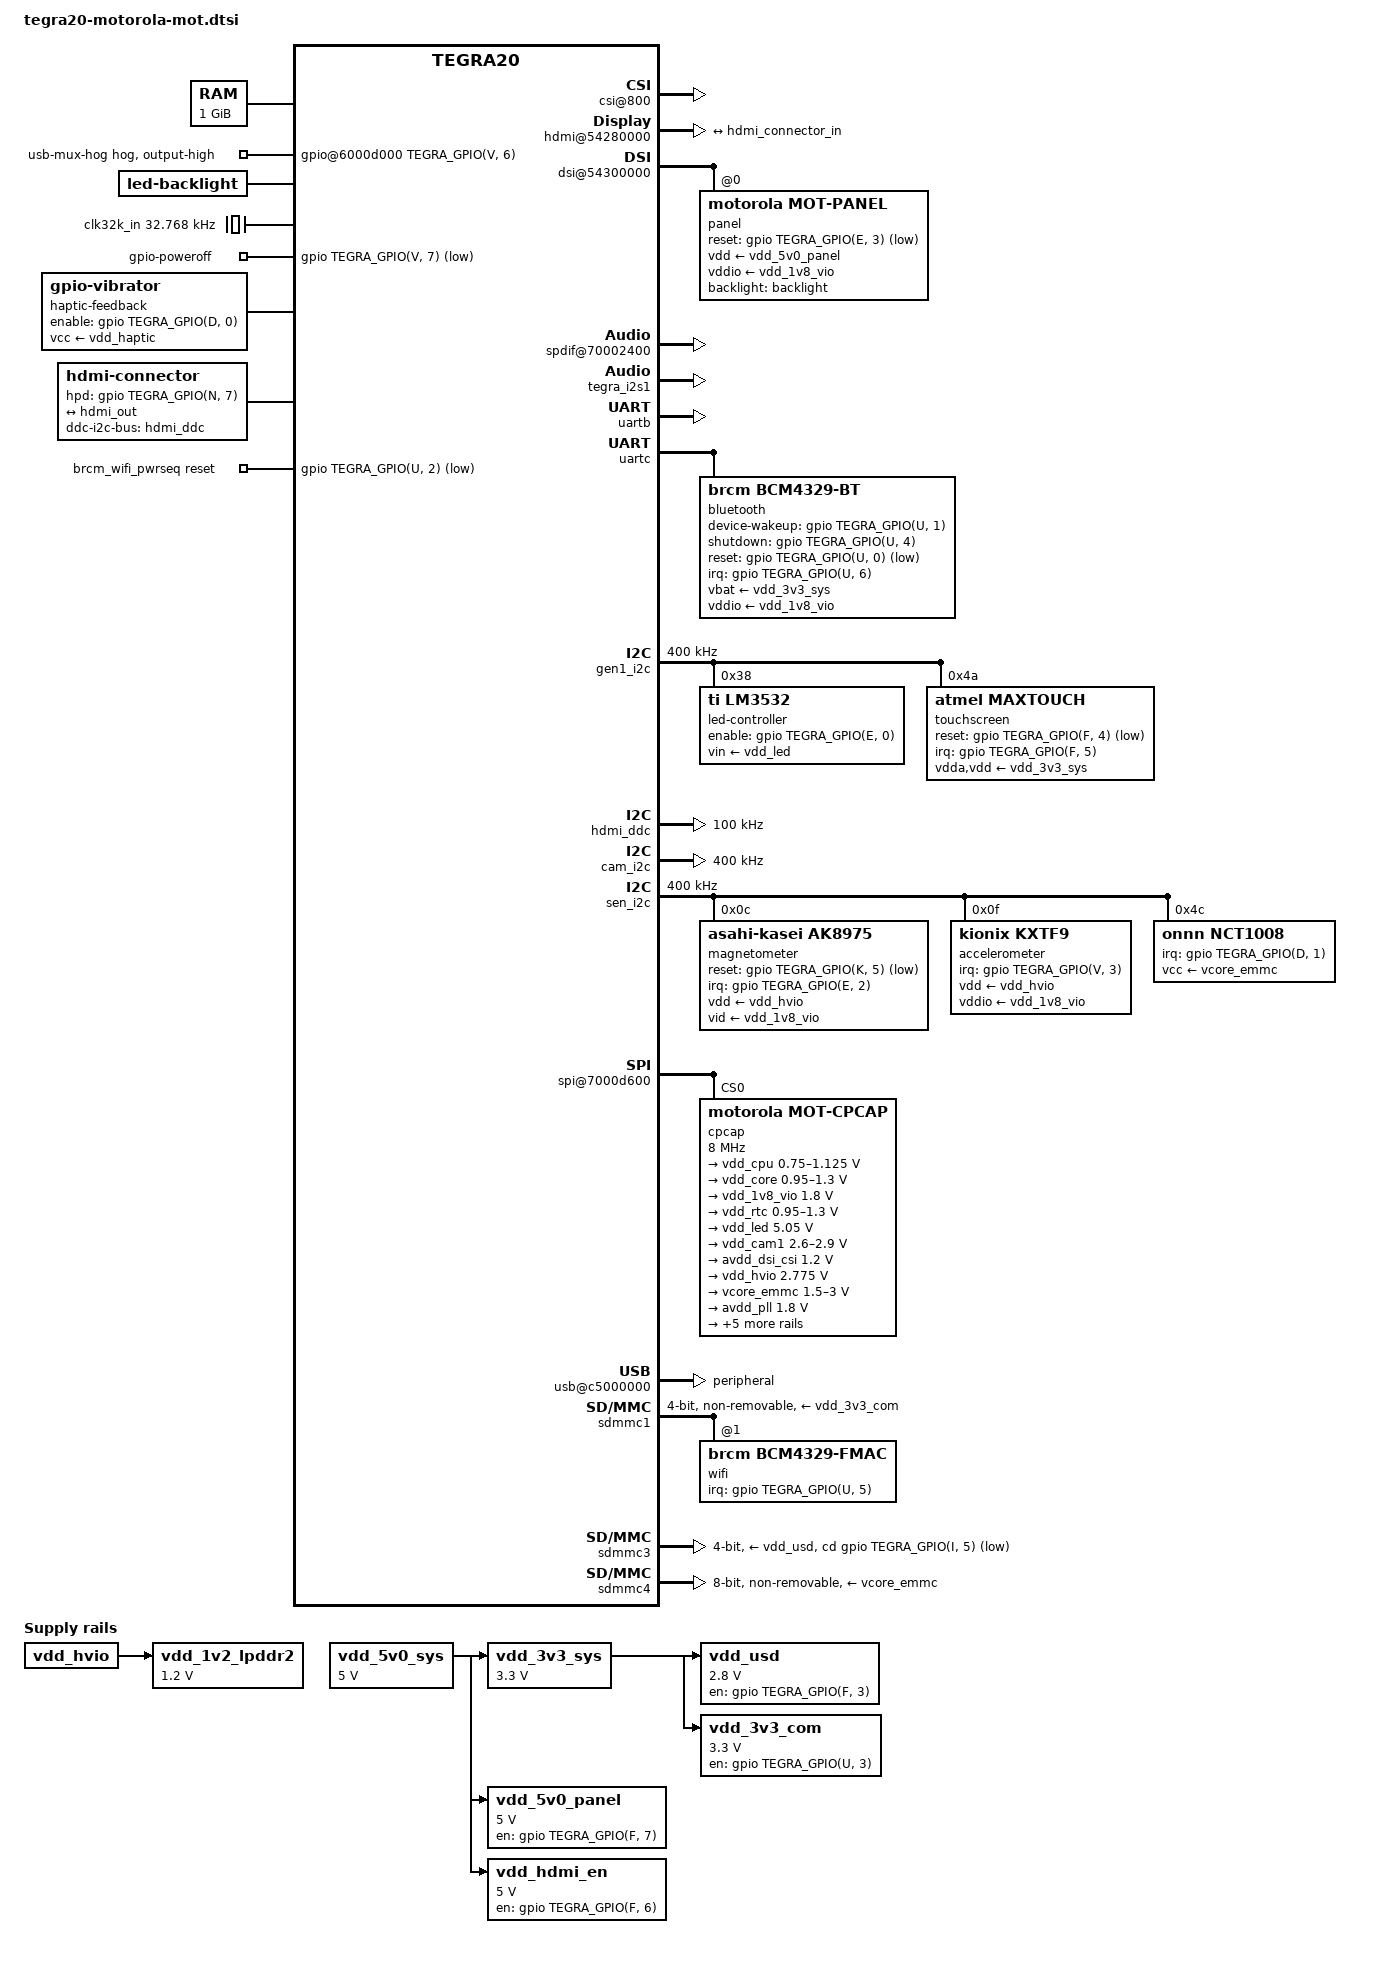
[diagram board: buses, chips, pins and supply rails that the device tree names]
// SPDX-License-Identifier: GPL-2.0

#include <dt-bindings/input/atmel-maxtouch.h>
#include <dt-bindings/input/gpio-keys.h>
#include <dt-bindings/input/input.h>
#include <dt-bindings/thermal/thermal.h>

#include "tegra20.dtsi"
#include "tegra20-cpu-opp.dtsi"
#include "tegra20-cpu-opp-microvolt.dtsi"

/ {
	chassis-type = "handset";

	aliases {
		mmc0 = &sdmmc4; /* eMMC */
		mmc1 = &sdmmc3; /* uSD slot */
		mmc2 = &sdmmc1; /* WiFi */

		rtc0 = &cpcap_rtc;
		rtc1 = "/rtc@7000e000";

		serial0 = &uartb; /* Console */
		serial1 = &uartc; /* Bluetooth */
	};

	/*
	 * The decompressor and also some bootloaders rely on a
	 * pre-existing /chosen node to be available to insert the
	 * command line and merge other ATAGS info.
	 */
	chosen { };

	memory@0 {
		reg = <0x00000000 0x40000000>;
	};

	reserved-memory {
		#address-cells = <1>;
		#size-cells = <1>;
		ranges;

		linux,cma@20000000 {
			compatible = "shared-dma-pool";
			alloc-ranges = <0x20000000 0x10000000>;
			size = <0x10000000>; /* 256MiB */
			linux,cma-default;
			reusable;
		};
	};

	host1x@50000000 {
		vi@54080000 {
			status = "okay";

			csi@800 {
				status = "okay";

				avdd-dsi-csi-supply = <&avdd_dsi_csi>;
			};

			ports {
				#address-cells = <1>;
				#size-cells = <0>;

				port@0 {
					reg = <0>;

					vi_ppa_input: endpoint {
						/* Link to the rear camera */
					};
				};

				port@1 {
					reg = <1>;

					vi_ppb_input: endpoint {
						/* Link to the front camera */
					};
				};
			};
		};

		hdmi@54280000 {
			status = "okay";

			/*
			 * Mot uses PLLD for both HDMI and DSI. HDMI does
			 * not support opps for frequencies used by DSI.
			 * Consequently, DSI works, but it causes HDMI to
			 * fail. Remove operating-points-v2 from HDMI.
			 */
			/delete-property/ operating-points-v2;

			vdd-supply = <&avdd_3v3_periph>;
			pll-supply = <&vdd_hvio>;
			hdmi-supply = <&vdd_hdmi_en>;

			port {
				hdmi_out: endpoint {
					remote-endpoint = <&hdmi_connector_in>;
				};
			};
		};

		dsi@54300000 {
			status = "okay";

			avdd-dsi-csi-supply = <&avdd_dsi_csi>;

			panel@0 {
				compatible = "motorola,mot-panel";
				reg = <0>;

				reset-gpios = <&gpio TEGRA_GPIO(E, 3) GPIO_ACTIVE_LOW>;

				vdd-supply = <&vdd_5v0_panel>;
				vddio-supply = <&vdd_1v8_vio>;

				backlight = <&backlight>;
			};
		};
	};

	gpio@6000d000 {
		usb-mux-hog {
			gpio-hog;
			gpios = <TEGRA_GPIO(V, 6) GPIO_ACTIVE_HIGH>;
			output-high;
		};
	};

	pinmux@70000014 {
		pinctrl-names = "default";
		pinctrl-0 = <&state_default>;

		state_default: pinmux {
			crt {
				nvidia,pins = "crtp";
				nvidia,function = "crt";
			};

			dap1 {
				nvidia,pins = "dap1";
				nvidia,function = "dap1";
			};

			dap2 {
				nvidia,pins = "dap2";
				nvidia,function = "dap2";
			};

			dap3 {
				nvidia,pins = "dap3";
				nvidia,function = "dap3";
			};

			dap4 {
				nvidia,pins = "dap4";
				nvidia,function = "dap4";
			};

			displaya {
				nvidia,pins = "lcsn", "ld0", "ld1", "ld3",
					      "ld5", "ld6", "ld7", "ld8",
					      "ld9", "ld12", "ld13", "ld14",
					      "ld15", "ld16", "ld17", "ldi",
					      "lhp0", "lhp1", "lhp2", "lhs",
					      "lpp", "lsc0", "lpw1", "lsda",
					      "lspi";
				nvidia,function = "displaya";
			};

			gmi {
				nvidia,pins = "ata", "atc", "atd", "ate",
					      "gmb", "gmd", "gpu";
				nvidia,function = "gmi";
			};

			hdmi {
				nvidia,pins = "hdint";
				nvidia,function = "hdmi";
			};

			i2c1 {
				nvidia,pins = "rm";
				nvidia,function = "i2c1";
			};

			i2c2 {
				nvidia,pins = "ddc";
				nvidia,function = "i2c2";
			};

			i2c3 {
				nvidia,pins = "dtf";
				nvidia,function = "i2c3";
			};

			i2cp {
				nvidia,pins = "i2cp";
				nvidia,function = "i2cp";
			};

			kbc {
				nvidia,pins = "kbca", "kbcb", "kbcc", "kbcd",
					      "kbce", "kbcf";
				nvidia,function = "kbc";
			};

			osc {
				nvidia,pins = "cdev1", "cdev2";
				nvidia,function = "osc";
			};

			owr {
				nvidia,pins = "owc", "uac";
				nvidia,function = "owr";
			};

			pcie {
				nvidia,pins = "gpv";
				nvidia,function = "pcie";
			};

			pwr-on {
				nvidia,pins = "pmc";
				nvidia,function = "pwr_on";
			};

			rsvd3 {
				nvidia,pins = "lm1";
				nvidia,function = "rsvd3";
			};

			rsvd4 {
				nvidia,pins = "lvp0", "lvp1", "lvs", "ld10",
					      "ld11", "ld2", "ld4", "ldc";
				nvidia,function = "rsvd4";
			};

			rtck {
				nvidia,pins = "gpu7";
				nvidia,function = "rtck";
			};

			sdio1 {
				nvidia,pins = "sdio1";
				nvidia,function = "sdio1";
			};

			sdio3 {
				nvidia,pins = "sdb", "sdc", "sdd";
				nvidia,function = "sdio3";
			};

			sdio4 {
				nvidia,pins = "atb", "gma", "gme";
				nvidia,function = "sdio4";
			};

			spdif {
				nvidia,pins = "slxc", "slxd";
				nvidia,function = "spdif";
			};

			spi1 {
				nvidia,pins = "spid", "spie", "spif";
				nvidia,function = "spi1";
			};

			spi2 {
				nvidia,pins = "spia", "spib", "spic", "spig",
					      "spih";
				nvidia,function = "spi2";
			};

			spi3 {
				nvidia,pins = "lm0", "lpw0", "lpw2", "lsc1";
				nvidia,function = "spi3";
			};

			uarta {
				nvidia,pins = "irrx", "irtx";
				nvidia,function = "uarta";
			};

			uartc {
				nvidia,pins = "uca", "ucb";
				nvidia,function = "uartc";
			};

			uartd {
				nvidia,pins = "gmc";
				nvidia,function = "uartd";
			};

			ulpi {
				nvidia,pins = "uab";
				nvidia,function = "ulpi";
			};

			vi {
				nvidia,pins = "dta", "dtb", "dtc", "dtd",
					      "dte";
				nvidia,function = "vi";
			};

			vi-sensor-clk {
				nvidia,pins = "csus";
				nvidia,function = "vi_sensor_clk";
			};

			conf-lcsn {
				nvidia,pins = "lcsn", "lpw1", "lsck", "lsda",
					      "lsdi", "ldc", "hdint";
				nvidia,tristate = <TEGRA_PIN_ENABLE>;
			};

			conf-ata {
				nvidia,pins = "ata", "atc", "ddc", "gmc",
					      "gpu", "kbca", "kbcb", "kbcc",
					      "kbcd", "kbce", "kbcf", "owc",
					      "sdc", "sdd", "sdio1", "uaa",
					      "uad", "uca", "ucb", "pmce";
				nvidia,pull = <TEGRA_PIN_PULL_UP>;
				nvidia,tristate = <TEGRA_PIN_DISABLE>;
			};

			conf-crtp {
				nvidia,pins = "crtp", "csus", "pta";
				nvidia,pull = <TEGRA_PIN_PULL_NONE>;
			};

			conf-atd {
				nvidia,pins = "atb", "atd", "ate", "cdev2",
					      "cdev1", "dte", "gma", "gmb",
					      "gmd", "gme", "gpu7", "gpv",
					      "i2cp", "irrx", "irtx", "rm",
					      "slxa", "slxc", "slxd", "slxk",
					      "spdi", "spdo", "spid", "spie",
					      "spif", "uda", "ck32", "ddrc",
					      "pmca", "pmcb", "pmcc", "pmcd",
					      "xm2c", "xm2d";
				nvidia,pull = <TEGRA_PIN_PULL_NONE>;
				nvidia,tristate = <TEGRA_PIN_DISABLE>;
			};

			conf-ld0 {
				nvidia,pins = "ld0", "ld1", "ld2", "ld3",
					      "ld4", "ld5", "ld6", "ld7",
					      "ld8", "ld9", "ld10", "ld11",
					      "ld12", "ld13", "ld14", "ld15",
					      "ld16", "ld17", "ldi", "lhp0",
					      "lhp1", "lhp2", "lhs", "lm0",
					      "lpp", "lpw0", "lpw2", "lsc0",
					      "lsc1", "lspi", "lvp1", "lm1",
					      "lvp0", "lvs", "pmc", "sdb";
				nvidia,tristate = <TEGRA_PIN_DISABLE>;
			};

			conf-dta {
				nvidia,pins = "dap1", "dap2", "dap3", "dap4",
					      "dta", "dtb", "dtc", "dtd", "dtf";
				nvidia,pull = <TEGRA_PIN_PULL_DOWN>;
				nvidia,tristate = <TEGRA_PIN_DISABLE>;
			};

			conf-spi2 {
				nvidia,pins = "spia", "spib", "spic", "spig",
					      "spih";
				nvidia,pull = <TEGRA_PIN_PULL_NONE>;
				nvidia,tristate = <TEGRA_PIN_DISABLE>;
			};

			drive-sdio1 {
				nvidia,pins = "drive_sdio1", "drive_ddc", "drive_vi1",
					      "drive_vi2", "drive_dbg";
				nvidia,high-speed-mode = <TEGRA_PIN_DISABLE>;
				nvidia,schmitt = <TEGRA_PIN_ENABLE>;
				nvidia,low-power-mode = <TEGRA_PIN_LP_DRIVE_DIV_1>;
				nvidia,pull-down-strength = <31>;
				nvidia,pull-up-strength = <31>;
				nvidia,slew-rate-rising = <TEGRA_PIN_SLEW_RATE_SLOWEST>;
				nvidia,slew-rate-falling = <TEGRA_PIN_SLEW_RATE_SLOWEST>;
			};
		};
	};

	spdif@70002400 {
		status = "okay";

		nvidia,fixed-parent-rate;
	};

	tegra_i2s1: i2s@70002800 {
		status = "okay";

		nvidia,fixed-parent-rate;
	};

	uartb: serial@70006040 {
		/delete-property/ dmas;
		/delete-property/ dma-names;
		status = "okay";

		/* Console */
	};

	uartc: serial@70006200 {
		compatible = "nvidia,tegra20-hsuart";
		reset-names = "serial";
		/delete-property/ reg-shift;
		status = "okay";

		nvidia,adjust-baud-rates = <0 9600 100>,
					   <9600 115200 200>,
					   <1000000 4000000 136>;

		/* Broadcom BCM4329HKUBG */
		bluetooth {
			compatible = "brcm,bcm4329-bt";

			interrupt-parent = <&gpio>;
			interrupts = <TEGRA_GPIO(U, 6) IRQ_TYPE_EDGE_RISING>;
			interrupt-names = "host-wakeup";

			/* PLLP 216MHz / 16 / 4 */
			max-speed = <3375000>;

			clocks = <&tegra_pmc TEGRA_PMC_CLK_BLINK>;
			clock-names = "txco";

			vbat-supply  = <&vdd_3v3_sys>;
			vddio-supply = <&vdd_1v8_vio>;

			device-wakeup-gpios = <&gpio TEGRA_GPIO(U, 1) GPIO_ACTIVE_HIGH>;
			shutdown-gpios = <&gpio TEGRA_GPIO(U, 4) GPIO_ACTIVE_HIGH>;
			reset-gpios = <&gpio TEGRA_GPIO(U, 0) GPIO_ACTIVE_LOW>;
		};
	};

	gen1_i2c: i2c@7000c000 {
		status = "okay";
		clock-frequency = <400000>;

		led-controller@38 {
			compatible = "ti,lm3532";
			reg = <0x38>;

			enable-gpios = <&gpio TEGRA_GPIO(E, 0) GPIO_ACTIVE_HIGH>;

			vin-supply = <&vdd_led>;

			ramp-up-us = <0>;
			ramp-down-us = <0>;

			#address-cells = <1>;
			#size-cells = <0>;

			backlight_led: led@0 {
				reg = <0>;

				led-sources = <0>;
				led-max-microamp = <26600>;

				ti,led-mode = <0>;
				ti,linear-mapping-mode;

				label = ":backlight";
			};
		};

		touchscreen@4a {
			compatible = "atmel,maxtouch";
			reg = <0x4a>;

			interrupt-parent = <&gpio>;
			interrupts = <TEGRA_GPIO(F, 5) IRQ_TYPE_LEVEL_LOW>;

			touchscreen-min-y = <10>;
			touchscreen-swapped-x-y;

			reset-gpios = <&gpio TEGRA_GPIO(F, 4) GPIO_ACTIVE_LOW>;

			vdda-supply = <&vdd_3v3_sys>;
			vdd-supply  = <&vdd_3v3_sys>;
		};
	};

	hdmi_ddc: i2c@7000c400 {
		status = "okay";
		clock-frequency = <100000>;
	};

	cam_i2c: i2c@7000c500 {
		status = "okay";
		clock-frequency = <400000>;
	};

	sen_i2c: i2c@7000d000 {
		status = "okay";
		clock-frequency = <400000>;

		magnetometer@c {
			compatible = "asahi-kasei,ak8975";
			reg = <0xc>;

			interrupt-parent = <&gpio>;
			interrupts = <TEGRA_GPIO(E, 2) IRQ_TYPE_EDGE_RISING>;

			reset-gpios = <&gpio TEGRA_GPIO(K, 5) GPIO_ACTIVE_LOW>;

			vdd-supply = <&vdd_hvio>;
			vid-supply = <&vdd_1v8_vio>;
		};

		accelerometer@f {
			compatible = "kionix,kxtf9";
			reg = <0xf>;

			interrupt-parent = <&gpio>;
			interrupts = <TEGRA_GPIO(V, 3) IRQ_TYPE_EDGE_RISING>;

			vdd-supply = <&vdd_hvio>;
			vddio-supply = <&vdd_1v8_vio>;
		};

		nct1008: temperature-sensor@4c {
			compatible = "onnn,nct1008";
			reg = <0x4c>;

			interrupt-parent = <&gpio>;
			interrupts = <TEGRA_GPIO(D, 1) IRQ_TYPE_EDGE_FALLING>;

			vcc-supply = <&vcore_emmc>;
			#thermal-sensor-cells = <1>;
		};
	};

	spi@7000d600 {
		status = "okay";
		spi-max-frequency = <25000000>;

		cpcap: pmic@0 {
			compatible = "motorola,mot-cpcap";
			reg = <0>;

			spi-cs-high;
			spi-max-frequency = <8000000>;

			interrupts = <GIC_SPI 86 IRQ_TYPE_LEVEL_HIGH>;

			interrupt-controller;
			#interrupt-cells = <2>;

			cpcap_adc: adc {
				compatible = "motorola,mot-cpcap-adc";

				interrupts-extended = <&cpcap 8 IRQ_TYPE_NONE>;
				interrupt-names = "adcdone";

				#io-channel-cells = <1>;
			};

			cpcap_audio: audio-codec {
				interrupts-extended = <&cpcap 9 IRQ_TYPE_NONE>,
						      <&cpcap 10 IRQ_TYPE_NONE>;
				interrupt-names = "hs", "mb2";

				VAUDIO-supply = <&vdd_audio>;

				#sound-dai-cells = <1>;
			};

			/* CHARGE_NOW has to be dumped and preloaded on each reboot */
			battery {
				compatible = "motorola,cpcap-battery";

				interrupts-extended =
					<&cpcap 6 IRQ_TYPE_NONE>,  <&cpcap 5 IRQ_TYPE_NONE>,
					<&cpcap 3 IRQ_TYPE_NONE>,  <&cpcap 20 IRQ_TYPE_NONE>,
					<&cpcap 54 IRQ_TYPE_NONE>, <&cpcap 57 IRQ_TYPE_NONE>;
				interrupt-names =
					"eol", "lowbph", "lowbpl",
					"chrgcurr1", "battdetb", "cccal";

				io-channels = <&cpcap_adc 0>, <&cpcap_adc 1>,
					      <&cpcap_adc 5>, <&cpcap_adc 6>;
				io-channel-names = "battdetb", "battp",
						   "chg_isense", "batti";

				monitored-battery = <&battery>;
			};

			key-power {
				compatible = "motorola,cpcap-pwrbutton";

				interrupt-parent = <&cpcap>;
				interrupts = <23 IRQ_TYPE_NONE>;
			};

			led-red {
				compatible = "motorola,cpcap-led-red";
				vdd-supply = <&vdd_led>;
				label = "status-led::red";
			};

			led-green {
				compatible = "motorola,cpcap-led-green";
				vdd-supply = <&vdd_led>;
				label = "status-led::green";
			};

			led-blue {
				compatible = "motorola,cpcap-led-blue";
				vdd-supply = <&vdd_led>;
				label = "status-led::blue";
			};

			led-adl {
				compatible = "motorola,cpcap-led-adl";
				vdd-supply = <&vdd_led>;
				label = "cpcap::keypad";
			};

			regulator {
				compatible = "motorola,mot-cpcap-regulator";

				regulators {
					vdd_cpu: SW1 {
						regulator-name = "vdd_cpu";
						regulator-min-microvolt = <750000>;
						regulator-max-microvolt = <1125000>;
						regulator-coupled-with = <&vdd_core &vdd_rtc>;
						regulator-coupled-max-spread = <550000 550000>;
						regulator-enable-ramp-delay = <1500>;
						regulator-always-on;
						regulator-boot-on;

						nvidia,tegra-cpu-regulator;
					};

					vdd_core: SW2 {
						regulator-name = "vdd_core";
						regulator-min-microvolt = <950000>;
						regulator-max-microvolt = <1300000>;
						regulator-coupled-with = <&vdd_rtc &vdd_cpu>;
						regulator-coupled-max-spread = <170000 550000>;
						regulator-enable-ramp-delay = <1500>;
						regulator-always-on;
						regulator-boot-on;

						nvidia,tegra-core-regulator;
					};

					vdd_1v8_vio: SW3 {
						regulator-name = "vdd_1v8_vio";
						regulator-min-microvolt = <1800000>;
						regulator-max-microvolt = <1800000>;
						regulator-enable-ramp-delay = <0>;
						regulator-always-on;
						regulator-boot-on;
					};

					vdd_rtc: SW4 {
						regulator-name = "vdd_aon";
						regulator-min-microvolt = <950000>;
						regulator-max-microvolt = <1300000>;
						regulator-coupled-with = <&vdd_core &vdd_cpu>;
						regulator-coupled-max-spread = <170000 550000>;
						regulator-enable-ramp-delay = <1500>;
						regulator-always-on;
						regulator-boot-on;

						nvidia,tegra-rtc-regulator;
					};

					vdd_led: SW5 {
						regulator-name = "vdd_led";
						regulator-min-microvolt = <5050000>;
						regulator-max-microvolt = <5050000>;
						regulator-enable-ramp-delay = <1500>;
						regulator-boot-on;
					};

					VCAM {
						regulator-name = "vdd_cam1";
						regulator-min-microvolt = <2600000>;
						regulator-max-microvolt = <2900000>;
						regulator-enable-ramp-delay = <1000>;
					};

					avdd_dsi_csi: VCSI {
						regulator-name = "avdd_dsi_csi";
						regulator-min-microvolt = <1200000>;
						regulator-max-microvolt = <1200000>;
						regulator-enable-ramp-delay = <1000>;
						regulator-boot-on;
					};

					vdd_hvio: VHVIO {
						regulator-name = "vdd_hvio";
						regulator-min-microvolt = <2775000>;
						regulator-max-microvolt = <2775000>;
						regulator-enable-ramp-delay = <1000>;
						regulator-always-on;
						regulator-boot-on;
					};

					vcore_emmc: VSDIO {
						regulator-name = "vcore_emmc";
						regulator-min-microvolt = <1500000>;
						regulator-max-microvolt = <3000000>;
						regulator-enable-ramp-delay = <1000>;
						regulator-always-on;
						regulator-boot-on;
					};

					VPLL {
						regulator-name = "avdd_pll";
						regulator-min-microvolt = <1800000>;
						regulator-max-microvolt = <1800000>;
						regulator-enable-ramp-delay = <1000>;
						regulator-always-on;
						regulator-boot-on;
					};

					avdd_3v3_periph: VWLAN2 {
						regulator-name = "avdd_3v3_periph";
						regulator-min-microvolt = <2775000>;
						regulator-max-microvolt = <3300000>;
						regulator-enable-ramp-delay = <1000>;
						regulator-boot-on;
					};

					vddio_usd: VSIMCARD {
						regulator-name = "vddio_usd";
						regulator-min-microvolt = <1800000>;
						regulator-max-microvolt = <2900000>;
						regulator-enable-ramp-delay = <1000>;
						regulator-boot-on;
					};

					vdd_haptic: VVIB {
						regulator-name = "vdd_haptic";
						regulator-min-microvolt = <1300000>;
						regulator-max-microvolt = <3000000>;
						regulator-enable-ramp-delay = <1000>;
					};

					vdd_usb_det: VUSB {
						regulator-name = "vdd_usb_det";
						regulator-min-microvolt = <3300000>;
						regulator-max-microvolt = <3300000>;
						regulator-enable-ramp-delay = <1000>;
						regulator-always-on;
						regulator-boot-on;
					};

					vdd_audio: VAUDIO {
						regulator-name = "vdd_audio";
						regulator-min-microvolt = <2775000>;
						regulator-max-microvolt = <2775000>;
						regulator-enable-ramp-delay = <1000>;
						regulator-allowed-modes = <0x00>, <0x40>;
						regulator-initial-mode = <0x00>; /* NORMAL */
					};
				};
			};

			cpcap_rtc: rtc {
				compatible = "motorola,cpcap-rtc";

				interrupt-parent = <&cpcap>;
				interrupts = <39 IRQ_TYPE_NONE>, <26 IRQ_TYPE_NONE>;
			};
		};
	};

	pmc@7000e400 {
		nvidia,suspend-mode = <1>;
		nvidia,cpu-pwr-good-time = <800>;
		nvidia,cpu-pwr-off-time = <600>;
		nvidia,core-pwr-good-time = <1842 1842>;
		nvidia,core-pwr-off-time = <31>;
		nvidia,core-power-req-active-high;
		nvidia,sys-clock-req-active-high;
		core-supply = <&vdd_core>;
	};

	memory-controller@7000f400 {
		nvidia,use-ram-code;

		emc-tables@0 {
			reg = <0>;

			#address-cells = <1>;
			#size-cells = <0>;

			/* Elpida 1G 50nm */
			lpddr2 {
				compatible = "elpida,B8132B2PB-6D-F", "jedec,lpddr2-s4";
				revision-id = <0 0>;
				density = <2048>;
				io-width = <16>;
			};

			emc-table@25000 {
				reg = <25000>;
				compatible = "nvidia,tegra20-emc-table";
				clock-frequency = <25000>;
				nvidia,emc-registers = < 0x00000002 0x00000006
					0x00000003 0x00000003 0x00000006 0x00000004
					0x00000002 0x00000009 0x00000003 0x00000003
					0x00000002 0x00000002 0x00000002 0x00000004
					0x00000003 0x00000008 0x0000000b 0x0000004d
					0x00000000 0x00000003 0x00000003 0x00000003
					0x00000008 0x00000001 0x0000000a 0x00000004
					0x00000003 0x00000008 0x00000004 0x00000006
					0x00000002 0x00000068 0x00000000 0x00000003
					0x00000000 0x00000000 0x00000282 0xa06804ae
					0x00004810 0x00000000 0x00000000 0x00000003
					0x00000000 0x00000000 0x00000000 0x00000000 >;
			};

			emc-table@50000 {
				reg = <50000>;
				compatible = "nvidia,tegra20-emc-table";
				clock-frequency = <50000>;
				nvidia,emc-registers = < 0x00000003 0x00000007
					0x00000003 0x00000003 0x00000006 0x00000004
					0x00000002 0x00000009 0x00000003 0x00000003
					0x00000002 0x00000002 0x00000002 0x00000005
					0x00000003 0x00000008 0x0000000b 0x0000009f
					0x00000000 0x00000003 0x00000003 0x00000003
					0x00000008 0x00000001 0x0000000a 0x00000007
					0x00000003 0x00000008 0x00000004 0x00000006
					0x00000002 0x000000d0 0x00000000 0x00000000
					0x00000000 0x00000000 0x00000282 0xa06804ae
					0x00004810 0x00000000 0x00000000 0x00000005
					0x00000000 0x00000000 0x00000000 0x00000000 >;
			};

			emc-table@75000 {
				reg = <75000>;
				compatible = "nvidia,tegra20-emc-table";
				clock-frequency = <75000>;
				nvidia,emc-registers = < 0x00000005 0x0000000a
					0x00000004 0x00000003 0x00000006 0x00000004
					0x00000002 0x00000009 0x00000003 0x00000003
					0x00000002 0x00000002 0x00000002 0x00000005
					0x00000003 0x00000008 0x0000000b 0x000000ff
					0x00000000 0x00000003 0x00000003 0x00000003
					0x00000008 0x00000001 0x0000000a 0x0000000b
					0x00000003 0x00000008 0x00000004 0x00000006
					0x00000002 0x00000138 0x00000000 0x00000000
					0x00000000 0x00000000 0x00000282 0xa06804ae
					0x00004810 0x00000000 0x00000000 0x00000007
					0x00000000 0x00000000 0x00000000 0x00000000 >;
			};

			emc-table@150000 {
				reg = <150000>;
				compatible = "nvidia,tegra20-emc-table";
				clock-frequency = <150000>;
				nvidia,emc-registers = < 0x00000009 0x00000014
					0x00000007 0x00000004 0x00000006 0x00000004
					0x00000002 0x00000009 0x00000003 0x00000003
					0x00000002 0x00000002 0x00000002 0x00000005
					0x00000003 0x00000008 0x0000000b 0x0000021f
					0x00000000 0x00000003 0x00000003 0x00000004
					0x00000008 0x00000001 0x0000000a 0x00000015
					0x00000003 0x00000008 0x00000004 0x00000006
					0x00000002 0x00000270 0x00000000 0x00000001
					0x00000000 0x00000000 0x00000282 0xa04c04ae
					0x007fc010 0x00000000 0x00000000 0x0000000e
					0x00000000 0x00000000 0x00000000 0x00000000 >;
			};

			emc-table@300000 {
				reg = <300000>;
				compatible = "nvidia,tegra20-emc-table";
				clock-frequency = <300000>;
				nvidia,emc-registers = < 0x00000012 0x00000027
					0x0000000d 0x00000007 0x00000007 0x00000005
					0x00000003 0x00000009 0x00000006 0x00000006
					0x00000003 0x00000003 0x00000002 0x00000006
					0x00000003 0x00000009 0x0000000c 0x0000045f
					0x00000000 0x00000004 0x00000004 0x00000007
					0x00000008 0x00000001 0x0000000e 0x0000002a
					0x00000003 0x0000000f 0x00000008 0x00000005
					0x00000002 0x000004e0 0x00000005 0x00000002
					0x00000000 0x00000000 0x00000282 0xf04c040b
					0x007fe010 0x00000000 0x00000000 0x0000001b
					0x00000000 0x00000000 0x00000000 0x00000000 >;
			};
		};
	};

	usb@c5000000 {
		compatible = "nvidia,tegra20-udc";
		status = "okay";
		dr_mode = "peripheral";
	};

	usb-phy@c5000000 {
		status = "okay";
		dr_mode = "peripheral";
		nvidia,xcvr-setup = <8>;
		nvidia,xcvr-lsfslew = <2>;
		nvidia,xcvr-lsrslew = <2>;
		vbus-supply = <&avdd_3v3_periph>;
	};

	sdmmc1: mmc@c8000000 {
		status = "okay";

		#address-cells = <1>;
		#size-cells = <0>;

		assigned-clocks = <&tegra_car TEGRA20_CLK_SDMMC1>;
		assigned-clock-parents = <&tegra_car TEGRA20_CLK_PLL_P>;
		assigned-clock-rates = <50000000>;

		max-frequency = <50000000>;
		keep-power-in-suspend;
		bus-width = <4>;
		non-removable;

		mmc-pwrseq = <&brcm_wifi_pwrseq>;
		vmmc-supply = <&vdd_3v3_com>;
		vqmmc-supply = <&vdd_1v8_vio>;

		/* Broadcom BCM4329HKUBG */
		wifi@1 {
			compatible = "brcm,bcm4329-fmac";
			reg = <1>;

			interrupt-parent = <&gpio>;
			interrupts = <TEGRA_GPIO(U, 5) IRQ_TYPE_LEVEL_HIGH>;
			interrupt-names = "host-wake";
		};
	};

	sdmmc3: mmc@c8000400 {
		status = "okay";
		bus-width = <4>;

		cd-gpios = <&gpio TEGRA_GPIO(I, 5) GPIO_ACTIVE_LOW>;
		disable-wp;

		vmmc-supply = <&vdd_usd>;
		vqmmc-supply = <&vddio_usd>;
	};

	sdmmc4: mmc@c8000600 {
		status = "okay";
		bus-width = <8>;
		non-removable;

		vmmc-supply = <&vcore_emmc>;
		vqmmc-supply = <&vdd_1v8_vio>;
	};

	backlight: backlight {
		compatible = "led-backlight";

		leds = <&backlight_led>;

		brightness-levels = <31 63 95 127 159 191 223 255>;
		default-brightness-level = <6>;
	};

	/* 32KHz oscillator which is used by PMC */
	clk32k_in: clock-32k-in {
		compatible = "fixed-clock";
		#clock-cells = <0>;
		clock-frequency = <32768>;
		clock-output-names = "ref-oscillator";
	};

	cpus {
		cpu0: cpu@0 {
			cpu-supply = <&vdd_cpu>;
			operating-points-v2 = <&cpu0_opp_table>;
			#cooling-cells = <2>;
		};

		cpu1: cpu@1 {
			cpu-supply = <&vdd_cpu>;
			operating-points-v2 = <&cpu0_opp_table>;
			#cooling-cells = <2>;
		};
	};

	gpio-poweroff {
		compatible = "gpio-poweroff";
		gpios = <&gpio TEGRA_GPIO(V, 7) GPIO_ACTIVE_LOW>;
		timeout-ms = <500>;
	};

	haptic-feedback {
		compatible = "gpio-vibrator";
		enable-gpios = <&gpio TEGRA_GPIO(D, 0) GPIO_ACTIVE_HIGH>;
		vcc-supply = <&vdd_haptic>;
	};

	hdmi-connector {
		compatible = "hdmi-connector";
		type = "d";

		hpd-gpios = <&gpio TEGRA_GPIO(N, 7) GPIO_ACTIVE_HIGH>;
		ddc-i2c-bus = <&hdmi_ddc>;

		port {
			hdmi_connector_in: endpoint {
				remote-endpoint = <&hdmi_out>;
			};
		};
	};

	opp-table-emc {
		/delete-node/ opp-666000000;
		/delete-node/ opp-760000000;
	};

	brcm_wifi_pwrseq: pwrseq-wifi {
		compatible = "mmc-pwrseq-simple";

		clocks = <&tegra_pmc TEGRA_PMC_CLK_BLINK>;
		clock-names = "ext_clock";

		reset-gpios = <&gpio TEGRA_GPIO(U, 2) GPIO_ACTIVE_LOW>;
		post-power-on-delay-ms = <200>;
		power-off-delay-us = <200>;
	};

	vdd_5v0_sys: regulator-5v0 {
		compatible = "regulator-fixed";
		regulator-name = "vdd_5v0";
		regulator-min-microvolt = <5000000>;
		regulator-max-microvolt = <5000000>;
		regulator-always-on;
	};

	vdd_3v3_sys: regulator-3v3 {
		compatible = "regulator-fixed";
		regulator-name = "vdd_3v3_vs";
		regulator-min-microvolt = <3300000>;
		regulator-max-microvolt = <3300000>;
		regulator-always-on;
		vin-supply = <&vdd_5v0_sys>;
	};

	vdd_1v2_lpddr2: regulator-lpddr2 {
		compatible = "regulator-fixed";
		regulator-name = "vddio_ddr";
		regulator-min-microvolt = <1200000>;
		regulator-max-microvolt = <1200000>;
		regulator-always-on;
		regulator-boot-on;
		vin-supply = <&vdd_hvio>;
	};

	vdd_5v0_panel: regulator-panel {
		compatible = "regulator-fixed";
		regulator-name = "vdd_5v0_disp";
		regulator-min-microvolt = <5000000>;
		regulator-max-microvolt = <5000000>;
		regulator-boot-on;
		gpio = <&gpio TEGRA_GPIO(F, 7) GPIO_ACTIVE_HIGH>;
		enable-active-high;
		vin-supply = <&vdd_5v0_sys>;
	};

	vdd_usd: regulator-usd {
		compatible = "regulator-fixed";
		regulator-name = "vdd_usd";
		regulator-min-microvolt = <2800000>;
		regulator-max-microvolt = <2800000>;
		gpio = <&gpio TEGRA_GPIO(F, 3) GPIO_ACTIVE_HIGH>;
		enable-active-high;
		vin-supply = <&vdd_3v3_sys>;
	};

	vdd_3v3_com: regulator-com {
		compatible = "regulator-fixed";
		regulator-name = "vdd_3v3_com";
		regulator-min-microvolt = <3300000>;
		regulator-max-microvolt = <3300000>;
		regulator-boot-on;
		gpio = <&gpio TEGRA_GPIO(U, 3) GPIO_ACTIVE_HIGH>;
		enable-active-high;
		vin-supply = <&vdd_3v3_sys>;
	};

	vdd_hdmi_en: regulator-hdmi {
		compatible = "regulator-fixed";
		regulator-name = "vdd_5v0_hdmi_en";
		regulator-min-microvolt = <5000000>;
		regulator-max-microvolt = <5000000>;
		gpio = <&gpio TEGRA_GPIO(F, 6) GPIO_ACTIVE_HIGH>;
		enable-active-high;
		vin-supply = <&vdd_5v0_sys>;
	};

	sound {
		compatible = "motorola,tegra-audio-cpcap-mot",
			     "nvidia,tegra-audio-cpcap";

		nvidia,audio-routing =
			"Headphones", "HSR",
			"Headphones", "HSL",
			"Int Spk", "SPKR",
			"Int Spk", "SPKL",
			"Earpiece", "EP",
			"HSMIC", "Mic Jack",
			"MICR", "Internal Mic 1",
			"MICL", "Internal Mic 2";

		nvidia,i2s-controller = <&tegra_i2s1>;
		nvidia,audio-codec = <&cpcap_audio>;

		clocks = <&tegra_car TEGRA20_CLK_PLL_A>,
			 <&tegra_car TEGRA20_CLK_PLL_A_OUT0>,
			 <&tegra_car TEGRA20_CLK_CDEV1>;
		clock-names = "pll_a", "pll_a_out0", "mclk";
	};

	thermal-zones {
		skin-thermal {
			polling-delay-passive = <1000>; /* milliseconds */
			polling-delay = <5000>; /* milliseconds */

			thermal-sensors = <&nct1008 0>;

			trips {
				trip0: skin-alert {
					/* throttle at 57C until temperature drops to 56.8C */
					temperature = <57000>;
					hysteresis = <200>;
					type = "passive";
				};

				trip1: skin-crit {
					/* shut down at 65C */
					temperature = <65000>;
					hysteresis = <2000>;
					type = "critical";
				};
			};

			cooling-maps {
				map0 {
					trip = <&trip0>;
					cooling-device = <&cpu0 THERMAL_NO_LIMIT THERMAL_NO_LIMIT>,
							 <&cpu1 THERMAL_NO_LIMIT THERMAL_NO_LIMIT>;
				};
			};
		};

		cpu-thermal {
			polling-delay-passive = <500>; /* milliseconds */
			polling-delay = <1500>; /* milliseconds */

			thermal-sensors = <&nct1008 1>;

			trips {
				trip2: cpu-alert {
					/* throttle at 75C until temperature drops to 74.8C */
					temperature = <75000>;
					hysteresis = <200>;
					type = "passive";
				};

				trip3: cpu-crit {
					/* shut down at 90C */
					temperature = <90000>;
					hysteresis = <2000>;
					type = "critical";
				};
			};

			cooling-maps {
				map1 {
					trip = <&trip2>;
					cooling-device = <&cpu0 THERMAL_NO_LIMIT THERMAL_NO_LIMIT>,
							 <&cpu1 THERMAL_NO_LIMIT THERMAL_NO_LIMIT>;
				};
			};
		};
	};
};
